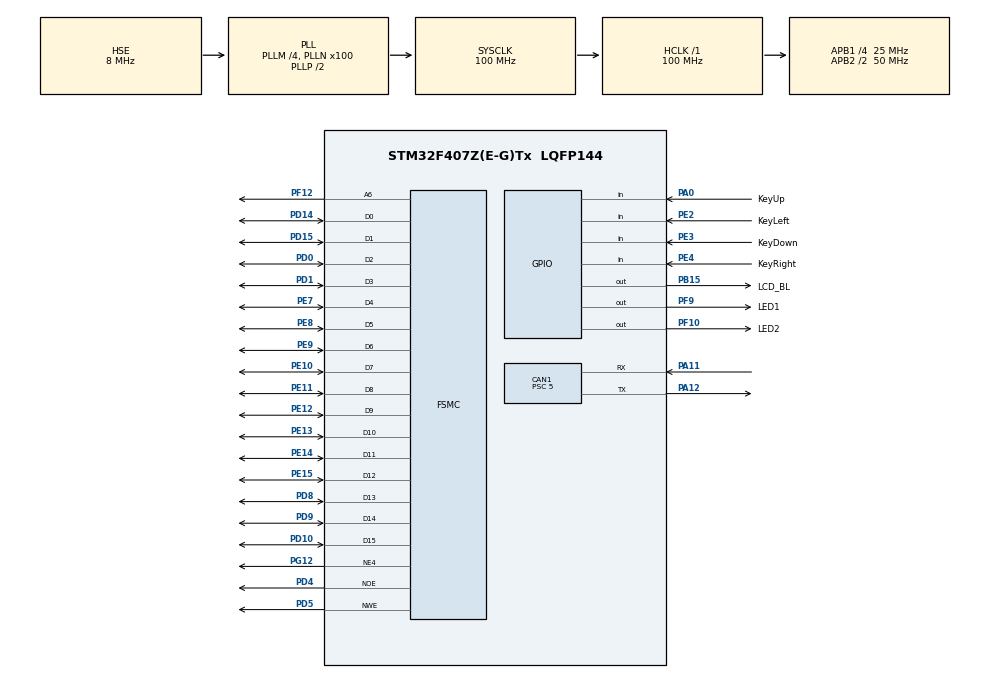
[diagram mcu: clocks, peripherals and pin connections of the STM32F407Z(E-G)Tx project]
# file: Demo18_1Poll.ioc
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CAN1.AWUM=ENABLE
CAN1.BS1=CAN_BS1_4TQ
CAN1.BS2=CAN_BS2_3TQ
CAN1.CalculateBaudRate=625000
CAN1.CalculateTimeBit=1600
CAN1.CalculateTimeQuantum=200.0
CAN1.Mode=CAN_MODE_LOOPBACK
CAN1.NART=ENABLE
CAN1.Prescaler=5
FSMC.AddressSetupTime4=2
FSMC.BusTurnAroundDuration4=0
FSMC.DataSetupTime4=16
FSMC.ExtendedAddressSetupTime4=4
FSMC.ExtendedBusTurnAroundDuration4=0
FSMC.ExtendedDataSetupTime4=9
FSMC.ExtendedMode4=FSMC_EXTENDED_MODE_ENABLE
Mcu.Family=STM32F4
Mcu.Name=STM32F407Z(E-G)Tx
Mcu.Package=LQFP144
NVIC.PriorityGroup=NVIC_PRIORITYGROUP_4
PA0-WKUP.GPIO_Label=KeyUp
PA0-WKUP.GPIO_PuPd=GPIO_PULLDOWN
PA0-WKUP.Signal=GPIO_Input
PA11.Mode=CAN_Activate
PA11.Signal=CAN1_RX
PA12.Mode=CAN_Activate
PA12.Signal=CAN1_TX
PA13.Mode=Serial_Wire
PA13.Signal=SYS_JTMS-SWDIO
PA14.Mode=Serial_Wire
PA14.Signal=SYS_JTCK-SWCLK
PB15.GPIO_Label=LCD_BL
PB15.PinState=GPIO_PIN_RESET
PB15.Signal=GPIO_Output
PD0.Signal=FSMC_D2_DA2
PD1.Signal=FSMC_D3_DA3
PD10.Signal=FSMC_D15_DA15
PD14.Signal=FSMC_D0_DA0
PD15.Signal=FSMC_D1_DA1
PD4.Signal=FSMC_NOE
PD5.Signal=FSMC_NWE
PD8.Signal=FSMC_D13_DA13
PD9.Signal=FSMC_D14_DA14
PE10.Signal=FSMC_D7_DA7
PE11.Signal=FSMC_D8_DA8
PE12.Signal=FSMC_D9_DA9
PE13.Signal=FSMC_D10_DA10
PE14.Signal=FSMC_D11_DA11
PE15.Signal=FSMC_D12_DA12
PE2.GPIO_Label=KeyLeft
PE2.GPIO_PuPd=GPIO_PULLUP
PE2.Signal=GPIO_Input
PE3.GPIO_Label=KeyDown
PE3.GPIO_PuPd=GPIO_PULLUP
PE3.Signal=GPIO_Input
PE4.GPIO_Label=KeyRight
PE4.GPIO_PuPd=GPIO_PULLUP
PE4.Signal=GPIO_Input
PE7.Signal=FSMC_D4_DA4
PE8.Signal=FSMC_D5_DA5
PE9.Signal=FSMC_D6_DA6
PF10.GPIO_Label=LED2
PF10.Signal=GPIO_Output
PF12.Signal=FSMC_A6
PF9.GPIO_Label=LED1
PF9.Signal=GPIO_Output
PG12.Mode=NorPsramChipSelect4_4
PG12.Signal=FSMC_NE4
PH0-OSC_IN.Mode=HSE-External-Oscillator
PH0-OSC_IN.Signal=RCC_OSC_IN
PH1-OSC_OUT.Mode=HSE-External-Oscillator
PH1-OSC_OUT.Signal=RCC_OSC_OUT
ProjectManager.HeapSize=0x200
ProjectManager.StackSize=0x400
ProjectManager.TargetToolchain=STM32CubeIDE
RCC.48MHZClocksFreq_Value=50000000
RCC.AHBFreq_Value=100000000
RCC.APB1CLKDivider=RCC_HCLK_DIV4
RCC.APB1Freq_Value=25000000
RCC.APB1TimFreq_Value=50000000
RCC.APB2CLKDivider=RCC_HCLK_DIV2
RCC.APB2Freq_Value=50000000
RCC.APB2TimFreq_Value=100000000
RCC.CortexFreq_Value=100000000
RCC.FLatency=FLASH_LATENCY_3
RCC.HCLKFreq_Value=100000000
RCC.HSE_VALUE=8000000
RCC.HSI_VALUE=16000000
RCC.LSE_VALUE=32768
RCC.PLLM=4
RCC.PLLN=100
RCC.PLLSourceVirtual=RCC_PLLSOURCE_HSE
RCC.SYSCLKFreq_VALUE=100000000
RCC.SYSCLKSource=RCC_SYSCLKSOURCE_PLLCLK
RCC.VCOOutputFreq_Value=200000000
SH.FSMC_A6.0=FSMC_A6,A6_4
SH.FSMC_D0_DA0.0=FSMC_D0,16b-d4
SH.FSMC_D10_DA10.0=FSMC_D10,16b-d4
SH.FSMC_D11_DA11.0=FSMC_D11,16b-d4
SH.FSMC_D12_DA12.0=FSMC_D12,16b-d4
SH.FSMC_D13_DA13.0=FSMC_D13,16b-d4
SH.FSMC_D14_DA14.0=FSMC_D14,16b-d4
SH.FSMC_D15_DA15.0=FSMC_D15,16b-d4
SH.FSMC_D1_DA1.0=FSMC_D1,16b-d4
SH.FSMC_D2_DA2.0=FSMC_D2,16b-d4
SH.FSMC_D3_DA3.0=FSMC_D3,16b-d4
SH.FSMC_D4_DA4.0=FSMC_D4,16b-d4
SH.FSMC_D5_DA5.0=FSMC_D5,16b-d4
SH.FSMC_D6_DA6.0=FSMC_D6,16b-d4
SH.FSMC_D7_DA7.0=FSMC_D7,16b-d4
SH.FSMC_D8_DA8.0=FSMC_D8,16b-d4
SH.FSMC_D9_DA9.0=FSMC_D9,16b-d4
SH.FSMC_NOE.0=FSMC_NOE,Lcd4
SH.FSMC_NWE.0=FSMC_NWE,Lcd4
board=custom

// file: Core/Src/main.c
/* USER CODE BEGIN Header */
/**
  ******************************************************************************
  * @file           : main.c
  * @brief          : Main program body
  ******************************************************************************
  * @attention
  *
  * Copyright (c) 2023 STMicroelectronics.
  * All rights reserved.
  *
  * This software is licensed under terms that can be found in the LICENSE file
  * in the root directory of this software component.
  * If no LICENSE file comes with this software, it is provided AS-IS.
  *
  ******************************************************************************
  */
/* USER CODE END Header */
#include "main.h"
#include "can.h"
#include "gpio.h"
#include "fsmc.h"

/* USER CODE BEGIN Includes */
#include "lcd.h"
#include "keyled.h"
/* USER CODE END Includes */

void SystemClock_Config(void);

int main(void)
{

  /* MCU Configuration--------------------------------------------------------*/

  /* Reset of all peripherals, Initializes the Flash interface and the Systick. */
  HAL_Init();

  /* Configure the system clock */
  SystemClock_Config();

  /* Initialize all configured peripherals */
  MX_GPIO_Init();
  MX_FSMC_Init();
  MX_CAN1_Init();
  /* USER CODE BEGIN 2 */
  lcd_init();
  lcd_show_str(10, 10 + 0 * 20, 16, "Demo18_1: CAN Polling", RED);
  lcd_show_str(10, 10 + 1 * 20, 16, "Test mode: Loopback", RED);

  if (CAN_SetFilters() == HAL_OK) {
	  lcd_show_str(10, 10 + 2 * 20, 16, "ID Filter: Only Odd IDs", RED);
  }
  if (HAL_CAN_Start(&hcan1) == HAL_OK) {
	  lcd_show_str(10, 10 + 3 * 20, 16, "CAN is started", RED);
  }

  lcd_show_str(10, 10 + 5 * 20, 16, "[1]KeyUp   = Send a Data Frame", RED);
  lcd_show_str(10, 10 + 6 * 20, 16, "[2]KeyDown = Send a Remote Frame", RED);
  /* USER CODE END 2 */

  /* Infinite loop */
  /* USER CODE BEGIN WHILE */
  uint8_t msgID = 1;
  while (1)
  {
	  KEYS curkey = ScanPressedKey(KEY_WAIT_ALWAYS);
	  if (curkey == KEY_UP) {
		  lcd_fill(0, 10 + 7 * 20, 479, 10 + 16 * 20, WHITE);
		  CAN_TestPoll(msgID++, CAN_RTR_DATA);
	  } else if (curkey == KEY_DOWN) {
		  lcd_fill(0, 10 + 7 * 20, 479, 10 + 16 * 20, WHITE);
		  CAN_TestPoll(msgID++, CAN_RTR_REMOTE);
	  }

	  lcd_show_str(10, 10 + 15 * 20, 16, "** Reselect menu or reset **", RED);
	  HAL_Delay(500);
    /* USER CODE END WHILE */

  }
}

void SystemClock_Config(void)
{
  RCC_OscInitTypeDef RCC_OscInitStruct = {0};
  RCC_ClkInitTypeDef RCC_ClkInitStruct = {0};

  /** Configure the main internal regulator output voltage
  */
  __HAL_RCC_PWR_CLK_ENABLE();
  __HAL_PWR_VOLTAGESCALING_CONFIG(PWR_REGULATOR_VOLTAGE_SCALE1);

  /** Initializes the RCC Oscillators according to the specified parameters
  * in the RCC_OscInitTypeDef structure.
  */
  RCC_OscInitStruct.OscillatorType = RCC_OSCILLATORTYPE_HSE;
  RCC_OscInitStruct.HSEState = RCC_HSE_ON;
  RCC_OscInitStruct.PLL.PLLState = RCC_PLL_ON;
  RCC_OscInitStruct.PLL.PLLSource = RCC_PLLSOURCE_HSE;
  RCC_OscInitStruct.PLL.PLLM = 4;
  RCC_OscInitStruct.PLL.PLLN = 100;
  RCC_OscInitStruct.PLL.PLLP = RCC_PLLP_DIV2;
  RCC_OscInitStruct.PLL.PLLQ = 4;
  if (HAL_RCC_OscConfig(&RCC_OscInitStruct) != HAL_OK)
  {
    Error_Handler();
  }

  /** Initializes the CPU, AHB and APB buses clocks
  */
  RCC_ClkInitStruct.ClockType = RCC_CLOCKTYPE_HCLK|RCC_CLOCKTYPE_SYSCLK
                              |RCC_CLOCKTYPE_PCLK1|RCC_CLOCKTYPE_PCLK2;
  RCC_ClkInitStruct.SYSCLKSource = RCC_SYSCLKSOURCE_PLLCLK;
  RCC_ClkInitStruct.AHBCLKDivider = RCC_SYSCLK_DIV1;
  RCC_ClkInitStruct.APB1CLKDivider = RCC_HCLK_DIV4;
  RCC_ClkInitStruct.APB2CLKDivider = RCC_HCLK_DIV2;

  if (HAL_RCC_ClockConfig(&RCC_ClkInitStruct, FLASH_LATENCY_3) != HAL_OK)
  {
    Error_Handler();
  }
}

void Error_Handler(void)
{
  __disable_irq();
  while (1)
  {
  }
}
